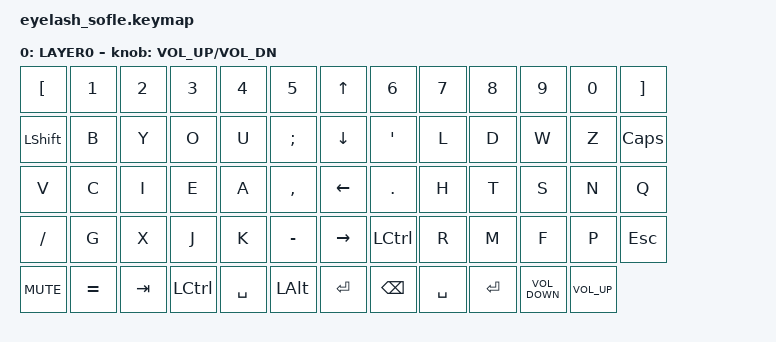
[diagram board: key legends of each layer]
#define ZMK_POINTING_DEFAULT_MOVE_VAL 1200  // 600
#define ZMK_POINTING_DEFAULT_SCRL_VAL 25   // 10

#include <input/processors.dtsi>
#include <zephyr/dt-bindings/input/input-event-codes.h>
#include <behaviors.dtsi>
#include <dt-bindings/zmk/keys.h>
#include <dt-bindings/zmk/pointing.h>

&mmv_input_listener { input-processors = <&zip_xy_scaler 2 1>; };

&msc_input_listener { input-processors = <&zip_scroll_scaler 2 1>; };

&msc {
    acceleration-exponent = <1>;      // 0
    time-to-max-speed-ms = <100>;       // 300
    delay-ms = <0>;                   // 0
};

&mmv {
    time-to-max-speed-ms = <500>;
    acceleration-exponent = <1>;
    trigger-period-ms = <16>;
};

&soft_off { hold-time-ms = <2000>; };

/ {
    scroll_encoder: scroll_encoder {
        compatible = "zmk,behavior-sensor-rotate";
        #sensor-binding-cells = <0>;
        bindings = <&msc SCRL_DOWN>, <&msc SCRL_UP>;

        tap-ms = <100>;
    };

    behaviors {
    };

    combos {
        compatible = "zmk,combos";

        softoff {
            bindings = <&soft_off>;
            key-positions = <14 28 40>;
        };
    };

    keymap {
        compatible = "zmk,keymap";

        layer0 {
            bindings = <
&kp LEFT_BRACKET  &kp NUMBER_1  &kp N2   &kp N3     &kp N4     &kp N5           &kp UP_ARROW     &kp N6      &kp N7     &kp N8     &kp N9             &kp N0           &kp RIGHT_BRACKET
&kp LSHFT         &kp B         &kp Y    &kp O      &kp U      &kp SEMICOLON    &kp DOWN_ARROW   &kp SQT     &kp L      &kp D      &kp W              &kp Z            &kp CAPS
&kp V             &kp C         &kp I    &kp E      &kp A      &kp COMMA        &kp LEFT_ARROW   &kp PERIOD  &kp H      &kp T      &kp S              &kp N            &kp Q
&kp SLASH         &kp G         &kp X    &kp J      &kp K      &kp MINUS        &kp RIGHT_ARROW  &kp LCTRL   &kp R      &kp M      &kp F              &kp P            &kp ESC
&kp C_MUTE        &kp EQUAL     &kp TAB  &kp LCTRL  &kp SPACE  &kp LEFT_ALT     &kp ENTER        &kp BSPC    &kp SPACE  &kp ENTER  &kp C_VOLUME_DOWN  &kp C_VOLUME_UP
            >;

            sensor-bindings = <&inc_dec_kp C_VOLUME_UP C_VOL_DN>;
            display-name = "LAYER0";
        };
    };
};
